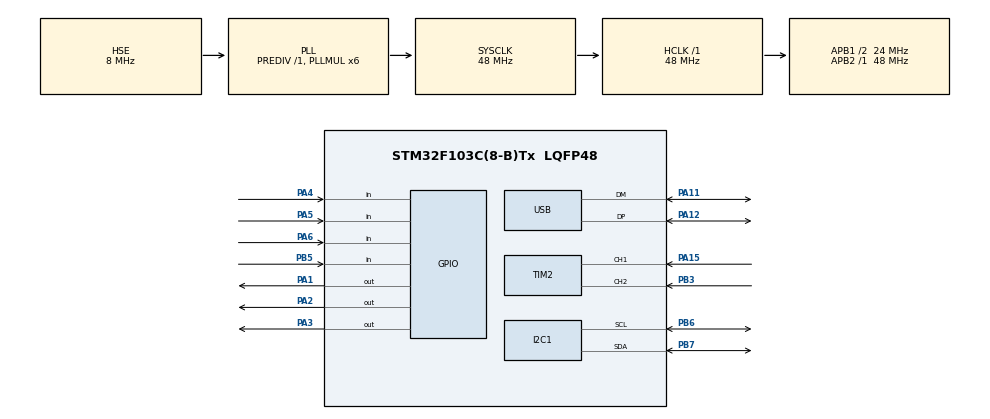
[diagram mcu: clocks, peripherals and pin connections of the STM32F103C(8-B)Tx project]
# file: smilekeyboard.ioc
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FREERTOS.Queues01=guiEventQueue,16,InputEvent_t,0,Dynamic,NULL,NULL
FREERTOS.Tasks01=keyboardTask,24,128,StartkeyboardTask,Default,NULL,Dynamic,NULL,NULL;guiTask,8,128,StartguiTask,Default,NULL,Dynamic,NULL,NULL;encoderTask,8,128,StartencoderTask,Default,NULL,Dynamic,NULL,NULL
Mcu.Family=STM32F1
Mcu.Name=STM32F103C(8-B)Tx
Mcu.Package=LQFP48
NVIC.PriorityGroup=NVIC_PRIORITYGROUP_4
NVIC.TIM4_IRQn=true\:15\:0\:false\:false\:true\:false\:false\:true\:true
NVIC.TimeBase=TIM4_IRQn
NVIC.TimeBaseIP=TIM4
NVIC.USB_LP_CAN1_RX0_IRQn=true\:5\:0\:false\:false\:true\:true\:false\:true\:true
PA1.Signal=GPIO_Output
PA11.Mode=Device
PA11.Signal=USB_DM
PA12.Mode=Device
PA12.Signal=USB_DP
PA13.Mode=Serial_Wire
PA13.Signal=SYS_JTMS-SWDIO
PA14.Mode=Serial_Wire
PA14.Signal=SYS_JTCK-SWCLK
PA15.Signal=S_TIM2_CH1_ETR
PA2.Signal=GPIO_Output
PA3.Signal=GPIO_Output
PA4.Signal=GPIO_Input
PA5.Signal=GPIO_Input
PA6.Signal=GPIO_Input
PB3.Signal=S_TIM2_CH2
PB5.Signal=GPIO_Input
PB6.Mode=I2C
PB6.Signal=I2C1_SCL
PB7.Mode=I2C
PB7.Signal=I2C1_SDA
PD0-OSC_IN.Mode=HSE-External-Oscillator
PD0-OSC_IN.Signal=RCC_OSC_IN
PD1-OSC_OUT.Mode=HSE-External-Oscillator
PD1-OSC_OUT.Signal=RCC_OSC_OUT
ProjectManager.HeapSize=0x200
ProjectManager.StackSize=0x400
ProjectManager.TargetToolchain=Makefile
RCC.AHBFreq_Value=48000000
RCC.APB1CLKDivider=RCC_HCLK_DIV2
RCC.APB1Freq_Value=24000000
RCC.APB1TimFreq_Value=48000000
RCC.APB2Freq_Value=48000000
RCC.APB2TimFreq_Value=48000000
RCC.HCLKFreq_Value=48000000
RCC.PLLMUL=RCC_PLL_MUL6
RCC.SYSCLKFreq_VALUE=48000000
RCC.SYSCLKSource=RCC_SYSCLKSOURCE_PLLCLK
RCC.USBFreq_Value=48000000
SH.S_TIM2_CH1_ETR.0=TIM2_CH1,Encoder_Interface
SH.S_TIM2_CH2.0=TIM2_CH2,Encoder_Interface
TIM2.EncoderMode=TIM_ENCODERMODE_TI12
TIM2.IC2Filter=10
USB_DEVICE.CLASS_NAME_FS=HID
USB_DEVICE.VirtualMode=Hid
USB_DEVICE.VirtualModeFS=Hid_FS
VP_FREERTOS_VS_CMSIS_V2.Mode=CMSIS_V2
VP_SYS_VS_tim4.Mode=TIM4
VP_USB_DEVICE_VS_USB_DEVICE_HID_FS.Mode=HID_FS
board=custom

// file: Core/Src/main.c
/* USER CODE BEGIN Header */
/**
  ******************************************************************************
  * @file           : main.c
  * @brief          : Main program body
  ******************************************************************************
  * @attention
  *
  * Copyright (c) 2025 STMicroelectronics.
  * All rights reserved.
  *
  * This software is licensed under terms that can be found in the LICENSE file
  * in the root directory of this software component.
  * If no LICENSE file comes with this software, it is provided AS-IS.
  *
  ******************************************************************************
  */
/* USER CODE END Header */
#include "main.h"
#include "cmsis_os.h"
#include "i2c.h"
#include "tim.h"
#include "usb_device.h"
#include "gpio.h"

void SystemClock_Config(void);
void MX_FREERTOS_Init(void);

int main(void)
{

  /* MCU Configuration--------------------------------------------------------*/

  /* Reset of all peripherals, Initializes the Flash interface and the Systick. */
  HAL_Init();

  /* Configure the system clock */
  SystemClock_Config();

  /* Initialize all configured peripherals */
  MX_GPIO_Init();
  MX_I2C1_Init();
  MX_TIM2_Init();

  /* Init scheduler */
  osKernelInitialize();  /* Call init function for freertos objects (in cmsis_os2.c) */
  MX_FREERTOS_Init();

  /* Start scheduler */
  osKernelStart();

  /* We should never get here as control is now taken by the scheduler */

  /* Infinite loop */
  while (1)
  {

  }
}

void SystemClock_Config(void)
{
  RCC_OscInitTypeDef RCC_OscInitStruct = {0};
  RCC_ClkInitTypeDef RCC_ClkInitStruct = {0};
  RCC_PeriphCLKInitTypeDef PeriphClkInit = {0};

  /** Initializes the RCC Oscillators according to the specified parameters
  * in the RCC_OscInitTypeDef structure.
  */
  RCC_OscInitStruct.OscillatorType = RCC_OSCILLATORTYPE_HSE;
  RCC_OscInitStruct.HSEState = RCC_HSE_ON;
  RCC_OscInitStruct.HSEPredivValue = RCC_HSE_PREDIV_DIV1;
  RCC_OscInitStruct.HSIState = RCC_HSI_ON;
  RCC_OscInitStruct.PLL.PLLState = RCC_PLL_ON;
  RCC_OscInitStruct.PLL.PLLSource = RCC_PLLSOURCE_HSE;
  RCC_OscInitStruct.PLL.PLLMUL = RCC_PLL_MUL6;
  if (HAL_RCC_OscConfig(&RCC_OscInitStruct) != HAL_OK)
  {
    Error_Handler();
  }

  /** Initializes the CPU, AHB and APB buses clocks
  */
  RCC_ClkInitStruct.ClockType = RCC_CLOCKTYPE_HCLK|RCC_CLOCKTYPE_SYSCLK
                              |RCC_CLOCKTYPE_PCLK1|RCC_CLOCKTYPE_PCLK2;
  RCC_ClkInitStruct.SYSCLKSource = RCC_SYSCLKSOURCE_PLLCLK;
  RCC_ClkInitStruct.AHBCLKDivider = RCC_SYSCLK_DIV1;
  RCC_ClkInitStruct.APB1CLKDivider = RCC_HCLK_DIV2;
  RCC_ClkInitStruct.APB2CLKDivider = RCC_HCLK_DIV1;

  if (HAL_RCC_ClockConfig(&RCC_ClkInitStruct, FLASH_LATENCY_1) != HAL_OK)
  {
    Error_Handler();
  }
  PeriphClkInit.PeriphClockSelection = RCC_PERIPHCLK_USB;
  PeriphClkInit.UsbClockSelection = RCC_USBCLKSOURCE_PLL;
  if (HAL_RCCEx_PeriphCLKConfig(&PeriphClkInit) != HAL_OK)
  {
    Error_Handler();
  }
}

void HAL_TIM_PeriodElapsedCallback(TIM_HandleTypeDef *htim)
{
  if (htim->Instance == TIM4)
  {
    HAL_IncTick();
  }
}

void Error_Handler(void)
{
  __disable_irq();
  while (1)
  {
  }
}

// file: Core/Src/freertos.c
/* USER CODE BEGIN Header */
/**
  ******************************************************************************
  * File Name          : freertos.c
  * Description        : Code for freertos applications
  ******************************************************************************
  * @attention
  *
  * Copyright (c) 2025 STMicroelectronics.
  * All rights reserved.
  *
  * This software is licensed under terms that can be found in the LICENSE file
  * in the root directory of this software component.
  * If no LICENSE file comes with this software, it is provided AS-IS.
  *
  ******************************************************************************
  */
/* USER CODE END Header */

#include "FreeRTOS.h"
#include "task.h"
#include "main.h"
#include "cmsis_os.h"

/* USER CODE BEGIN Includes */
#include "usb_keyboard.h"
#include "matrix_keyboard.h"
#include "usbd_hid.h"
#include "OLED.h"
#include "tim.h"
#include "u8g2.h"

/* USER CODE END Includes */

/* USER CODE BEGIN PTD */
/* u8g2 实体定义 */
static u8g2_t u8g2;

// 声明你的移植回调函数 (在 u8g2_port.c 中实现)
extern uint8_t u8x8_byte_stm32_hw_i2c(u8x8_t *u8x8, uint8_t msg, uint8_t arg_int, void *arg_ptr);
extern uint8_t u8x8_stm32_gpio_and_delay(u8x8_t *u8x8, uint8_t msg, uint8_t arg_int, void *arg_ptr);
/* USER CODE END PTD */

/* Definitions for keyboardTask */
osThreadId_t keyboardTaskHandle;
const osThreadAttr_t keyboardTask_attributes = {
  .name = "keyboardTask",
  .stack_size = 128 * 4,
  .priority = (osPriority_t) osPriorityNormal,
};
/* Definitions for guiTask */
osThreadId_t guiTaskHandle;
const osThreadAttr_t guiTask_attributes = {
  .name = "guiTask",
  .stack_size = 128 * 4,
  .priority = (osPriority_t) osPriorityLow,
};
/* Definitions for encoderTask */
osThreadId_t encoderTaskHandle;
const osThreadAttr_t encoderTask_attributes = {
  .name = "encoderTask",
  .stack_size = 128 * 4,
  .priority = (osPriority_t) osPriorityLow,
};
/* Definitions for guiEventQueue */
osMessageQueueId_t guiEventQueueHandle;
const osMessageQueueAttr_t guiEventQueue_attributes = {
  .name = "guiEventQueue"
};

void StartkeyboardTask(void *argument);
void StartguiTask(void *argument);
void StartencoderTask(void *argument);

extern void MX_USB_DEVICE_Init(void);
void MX_FREERTOS_Init(void); /* (MISRA C 2004 rule 8.1) */

void MX_FREERTOS_Init(void) {

  /* Create the queue(s) */
  /* creation of guiEventQueue */
  guiEventQueueHandle = osMessageQueueNew (16, sizeof(InputEvent_t), &guiEventQueue_attributes);

  /* Create the thread(s) */
  /* creation of keyboardTask */
  keyboardTaskHandle = osThreadNew(StartkeyboardTask, NULL, &keyboardTask_attributes);

  /* creation of guiTask */
  guiTaskHandle = osThreadNew(StartguiTask, NULL, &guiTask_attributes);

  /* creation of encoderTask */
  encoderTaskHandle = osThreadNew(StartencoderTask, NULL, &encoderTask_attributes);

}

void StartkeyboardTask(void *argument)
{
  /* init code for USB_DEVICE */
  MX_USB_DEVICE_Init();
  /* USER CODE BEGIN StartkeyboardTask */

 Matrix_Keyboard_Init();
  MX_USB_DEVICE_Init();

  uint32_t tick = osKernelGetTickCount();
  // 定义周期为 10ms (假设你的配置是 1000Hz, 那么 10 ticks 就是 10ms)
  const uint32_t frequency = 10;
  /* Infinite loop */
  for(;;)
  {
    // 1. 执行矩阵扫描
    Matrix_Keyboard_Scan();

    // 2. 绝对延时：确保从上一次唤醒到下一次唤醒精确间隔 10ms
    // 这会自动扣除 Matrix_Keyboard_Scan() 运行所占用的时间
    tick += frequency;
    osDelayUntil(tick);
  }
  /* USER CODE END StartkeyboardTask */
}

typedef enum {
    FACE_NORMAL,
    FACE_BLINK,
    FACE_DIZZY // 预留晕的状态
} FaceState_t;

void StartguiTask(void *argument)
{
  // 1. 初始化 (保持不变)
  u8g2_Setup_ssd1306_i2c_128x64_noname_f(&u8g2, U8G2_R0, u8x8_byte_stm32_hw_i2c, u8x8_stm32_gpio_and_delay);
  u8x8_SetI2CAddress(&u8g2.u8x8, 0x78);
  u8g2_InitDisplay(&u8g2);
  u8g2_SetPowerSave(&u8g2, 0);

  // 2. 变量定义
  InputEvent_t recv_evt;
  UI_Page_t current_page = PAGE_HOME;

  int8_t menu_index = 0;
  const int8_t MENU_MAX = 3;
  char *menu_items[] = {"Return", "Pomodoro", "Settings"};

  // === 动画变量 ===
  uint32_t last_blink_time = 0;
  FaceState_t current_face = FACE_NORMAL;

  // === 【关键修改】热度与时间戳 ===
  int16_t typing_heat = 0;      // 热度值
  uint32_t last_key_time = 0;   // 最后一次按键的时间戳

  for(;;)
  {
    // 20ms 刷新率
    osStatus_t status = osMessageQueueGet(guiEventQueueHandle, &recv_evt, NULL, 20);
    if (status != osOK) recv_evt = EVENT_NONE;

    uint32_t now = osKernelGetTickCount(); // 获取当前系统时间

    // ================= 逻辑处理 =================

    // --- 1. 捕捉按键，更新时间戳 ---
    if (recv_evt == EVENT_KEY_HIT) {
        last_key_time = now; // 更新最后按键时间
        typing_heat += 20;   // 升温：数值越大越容易晕
    }

    // --- 2. 热度自然衰减 (用于触发眩晕) ---
    // 只有在 3秒内 有输入时，才计算热度逻辑
    if (now - last_key_time < 3000) {
        typing_heat -= 1; // 缓慢降温
    } else {
        // --- 3. 【核心逻辑】超时 3秒 强制恢复 ---
        typing_heat = 0;            // 热度归零
        current_face = FACE_NORMAL; // 强制恢复正常脸
    }

    // 限制热度范围
    if (typing_heat > 100) typing_heat = 100;
    if (typing_heat < 0) typing_heat = 0;

    // --- 4. 状态切换判定 ---
    // 只有没超时的时候，才允许变晕
    if (now - last_key_time < 3000) {
        if (typing_heat > 80) {
            current_face = FACE_DIZZY; // 热度超过60变晕
        }
        // 注意：这里去掉了“降到40恢复”的逻辑，完全交给 3秒倒计时来恢复
        // 这样只要你一旦晕了，就会晕满 3秒 (或者直到你停止输入3秒)
    }

    // --- 5. 页面跳转逻辑 (保持不变) ---
    switch (current_page)
    {
        case PAGE_HOME:
            if (recv_evt == EVENT_ENCODER_UP ||
                recv_evt == EVENT_ENCODER_DOWN ||
                recv_evt == EVENT_ENCODER_CLICK)
            {
                current_page = PAGE_MENU;
                menu_index = 0;
            }
            break;
        // ... (其他页面逻辑不变) ...
        case PAGE_MENU:
            if (recv_evt == EVENT_ENCODER_DOWN) menu_index++;
            if (recv_evt == EVENT_ENCODER_UP)   menu_index--;
            if (menu_index < 0) menu_index = MENU_MAX - 1;
            if (menu_index >= MENU_MAX) menu_index = 0;
            if (recv_evt == EVENT_ENCODER_CLICK) {
                if (menu_index == 0) current_page = PAGE_HOME;
            }
            break;
        case PAGE_POMODORO:
        case PAGE_GAME:
             if (recv_evt == EVENT_ENCODER_CLICK) current_page = PAGE_MENU;
             break;
    }

    // ================= 绘图处理 (保持不变) =================
    u8g2_ClearBuffer(&u8g2);

    switch (current_page)
    {
        case PAGE_HOME:
            if (current_face == FACE_DIZZY) {
                // 晕脸绘制 (X 眼睛)
                u8g2_DrawLine(&u8g2, 22, 15, 42, 35);
                u8g2_DrawLine(&u8g2, 42, 15, 22, 35);
                u8g2_DrawLine(&u8g2, 86, 15, 106, 35);
                u8g2_DrawLine(&u8g2, 106, 15, 86, 35);
                u8g2_DrawCircle(&u8g2, 64, 52, 6, U8G2_DRAW_ALL);
                // 蚊香圈
                u8g2_DrawLine(&u8g2, 58, 5, 70, 5);
                u8g2_DrawLine(&u8g2, 60, 2, 68, 2);
            }
            else { // FACE_NORMAL
                // 正常脸绘制 (眨眼动画)
                int is_blink = 0;
                // 只有不是晕的时候才眨眼
                if (now - last_blink_time > 3500) {
                    is_blink = 1;
                    if (now - last_blink_time > 3650) {
                        is_blink = 0;
                        last_blink_time = now;
                    }
                }
                if (is_blink) {
                    u8g2_DrawBox(&u8g2, 18, 23, 28, 4);
                    u8g2_DrawBox(&u8g2, 82, 23, 28, 4);
                } else {
                    u8g2_DrawFilledEllipse(&u8g2, 32, 25, 12, 18, U8G2_DRAW_ALL);
                    u8g2_DrawFilledEllipse(&u8g2, 96, 25, 12, 18, U8G2_DRAW_ALL);
                    u8g2_SetDrawColor(&u8g2, 0);
                    u8g2_DrawDisc(&u8g2, 36, 20, 3, U8G2_DRAW_ALL);
                    u8g2_DrawDisc(&u8g2, 100, 20, 3, U8G2_DRAW_ALL);
                    u8g2_SetDrawColor(&u8g2, 1);
                }
                u8g2_DrawRBox(&u8g2, 44, 50, 40, 8, 3);
            }
            break;

        case PAGE_MENU:
            // 菜单绘制保持不变...
            u8g2_SetFont(&u8g2, u8g2_font_ncenB10_tr);
            for (int i = 0; i < MENU_MAX; i++) {
                int y_pos = 20 + i * 20;
                if (i == menu_index) {
                    u8g2_DrawRBox(&u8g2, 10, y_pos - 14, 108, 19, 4);
                    u8g2_SetDrawColor(&u8g2, 0);
                } else {
                    u8g2_SetDrawColor(&u8g2, 1);
                }
                int str_w = u8g2_GetStrWidth(&u8g2, menu_items[i]);
                u8g2_DrawStr(&u8g2, (128 - str_w) / 2, y_pos, menu_items[i]);
            }
            u8g2_SetDrawColor(&u8g2, 1);
            break;
    }

    u8g2_SendBuffer(&u8g2);
  }
}

void StartencoderTask(void *argument)
{
  /* USER CODE BEGIN StartencoderTask */
   HAL_TIM_Encoder_Start(&htim2, TIM_CHANNEL_ALL);
  int16_t last_counter = 0;

  /* Infinite loop */
  for(;;)
  {
     // 1. 处理旋转
    int16_t current_counter = (int16_t)__HAL_TIM_GET_COUNTER(&htim2);
    int16_t diff = current_counter - last_counter;

    if (abs(diff) >= 4) { // 假设转一格计数变2
        InputEvent_t evt = (diff > 0) ? EVENT_ENCODER_DOWN : EVENT_ENCODER_UP;
        osMessageQueuePut(guiEventQueueHandle, &evt, 0, 0); // 发送到队列
        last_counter = current_counter;
    }

    // 2. 处理按键 (此处省略消抖逻辑)
    if (HAL_GPIO_ReadPin(GPIOB, GPIO_PIN_5) == GPIO_PIN_RESET) {
        InputEvent_t evt = EVENT_ENCODER_CLICK;
        osMessageQueuePut(guiEventQueueHandle, &evt, 0, 0);
        // 等待松开，防止重复触发
        while(HAL_GPIO_ReadPin(GPIOB, GPIO_PIN_5) == GPIO_PIN_RESET) osDelay(20);
    }

    osDelay(20);

  }
  /* USER CODE END StartencoderTask */
}

/* USER CODE BEGIN Application */

void Matrix_Key_Callback(uint8_t key_code, uint8_t pressed) {
  // 1. 原有的 USB 发送
  USB_Keyboard_HandleMatrixKey(key_code, pressed);

  // 2. 新增：如果是按下动作，通知 GUI 增加热度
  if (pressed) {
      InputEvent_t evt = EVENT_KEY_HIT;
      // timeout=0 表示如果不阻塞，队列满了就丢弃，不影响打字
      osMessageQueuePut(guiEventQueueHandle, &evt, 0, 0);
  }
}

/* USER CODE END Application */
